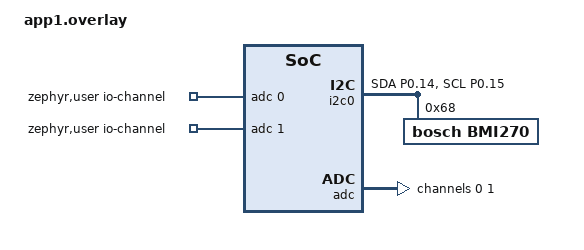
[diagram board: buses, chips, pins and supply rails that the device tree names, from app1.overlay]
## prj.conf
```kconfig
#
# Copyright (c) 2018 Nordic Semiconductor
#
# SPDX-License-Identifier: LicenseRef-Nordic-5-Clause
#

# Logger module
# Button and LED library
CONFIG_DK_LIBRARY=y

# Bluetooth LE
CONFIG_BT=y
CONFIG_BT_PERIPHERAL=y
CONFIG_BT_DEVICE_NAME="IMU_wearable"

# Increase stack size for the main thread and System Workqueue
CONFIG_SYSTEM_WORKQUEUE_STACK_SIZE=1024
CONFIG_MAIN_STACK_SIZE=1024

CONFIG_STDOUT_CONSOLE=y
CONFIG_I2C=y
CONFIG_SENSOR=y
CONFIG_ADC=y

# RAM savings (nRF52811 has 24 kB)
CONFIG_USE_SEGGER_RTT=n
CONFIG_BT_GATT_CACHING=n

# increaes BLE packet size
# CONFIG_BT_BUF_ACL_RX_SIZE=251
# CONFIG_BT_BUF_ACL_TX_SIZE=251
# CONFIG_BT_L2CAP_TX_MTU=247
# CONFIG_BT_L2CAP_TX_BUF_COUNT=10
# CONFIG_BT_CTLR_DATA_LENGTH_MAX=251

CONFIG_BT_BUF_ACL_RX_SIZE=64
CONFIG_BT_BUF_ACL_TX_SIZE=64
CONFIG_BT_L2CAP_TX_MTU=60
CONFIG_BT_L2CAP_TX_BUF_COUNT=3
CONFIG_BT_CTLR_DATA_LENGTH_MAX=64

CONFIG_BT_GATT_CLIENT=y

# increase number of connections
# CONFIG_BT_MAX_CONN=1
```

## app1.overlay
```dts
&i2c0 {
  compatible = "nordic,nrf-twi";
  status = "okay";
  pinctrl-0 = <&i2c1_default_custom>;
  pinctrl-1 = <&i2c1_sleep_custom>;
  pinctrl-names = "default", "sleep";

  bmi270@68 {
    compatible = "bosch,bmi270";
    reg = <0x68>;
  };
};

/ {
  zephyr,user {
    io-channels = <&adc 0>, <&adc 1>;
  };
};

/* foot pressure sensors */
&adc {
  #address-cells = <1>;
  #size-cells = <0>;
  status = "okay";

  channel@0 {                       /* AIN4 / P0.28 */
    reg = <0>;
    zephyr,gain = "ADC_GAIN_1_6";
    zephyr,reference = "ADC_REF_INTERNAL";
    zephyr,acquisition-time = <ADC_ACQ_TIME_DEFAULT>;
    zephyr,input-positive = <NRF_SAADC_AIN4>;
    zephyr,resolution = <12>;
  };
  channel@1 {                       /* AIN6 / P0.30 */
    reg = <1>;
    zephyr,gain = "ADC_GAIN_1_6";
    zephyr,reference = "ADC_REF_INTERNAL";
    zephyr,acquisition-time = <ADC_ACQ_TIME_DEFAULT>;
    zephyr,input-positive = <NRF_SAADC_AIN6>;
    zephyr,resolution = <12>;
  };
};

&pinctrl {
  i2c1_default_custom: i2c1_default_custom {
    group1 {
      psels = <NRF_PSEL(TWIM_SDA, 0, 14)>,
        <NRF_PSEL(TWIM_SCL, 0, 15)>;
    };
  };
  i2c1_sleep_custom: i2c1_sleep_custom {
    group1 {
      psels = <NRF_PSEL(TWIM_SDA, 0, 14)>,
        <NRF_PSEL(TWIM_SCL, 0, 15)>;
      low-power-enable;
    };
  };
};

// &pinctrl {
//   i2c1_default_custom: i2c1_default_custom {
//     group1 {
//       psels = <NRF_PSEL(TWIM_SDA, 0, 6)>,
//         <NRF_PSEL(TWIM_SCL, 0, 9)>;
//     };
//   };
//   i2c1_sleep_custom: i2c1_sleep_custom {
//     group1 {
//       psels = <NRF_PSEL(TWIM_SDA, 0, 6)>,
//         <NRF_PSEL(TWIM_SCL, 0, 9)>;
//       low-power-enable;
//     };
//   };
// };
```

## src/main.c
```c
#include <zephyr/kernel.h>
#include <zephyr/bluetooth/bluetooth.h>
#include <zephyr/bluetooth/gap.h>
#include <zephyr/bluetooth/uuid.h>
#include <zephyr/bluetooth/conn.h>
// #include <dk_buttons_and_leds.h>
#include <zephyr/drivers/gpio.h>
#include <zephyr/drivers/adc.h>

#include "main.h"
#include "imu_service.h"
#include "imu_driver.h"

#define LED0_NODE DT_ALIAS(led0)
static const struct gpio_dt_spec led = GPIO_DT_SPEC_GET(LED0_NODE, gpios);

void set_led(bool led_state)
{
  if (led_state == true) {
    gpio_pin_set_dt(&led, 1);
  } else {
    gpio_pin_set_dt(&led, 0);
  }
}

static uint32_t app_sensor_value = 100;

static bool app_button_state;

/* foot pressure sensors on AIN4 (P0.28) and AIN6 (P0.30), see app1.overlay */
static const struct adc_dt_spec foot_adc[2] = {
  ADC_DT_SPEC_GET_BY_IDX(DT_PATH(zephyr_user), 0),
  ADC_DT_SPEC_GET_BY_IDX(DT_PATH(zephyr_user), 1),
};

static int foot_adc_init(void)
{
  for (int i = 0; i < 2; i++) {
    if (!adc_is_ready_dt(&foot_adc[i]) || adc_channel_setup_dt(&foot_adc[i])) {
      return -1;
    }
  }
  return 0;
}

/* sample both channels in one sequence, results in millivolts */
static int read_foot_mv(uint16_t mv_out[2])
{
  int16_t buf[2];
  struct adc_sequence seq = {
    .buffer = buf,
    .buffer_size = sizeof(buf),
  };

  adc_sequence_init_dt(&foot_adc[0], &seq);
  seq.channels |= BIT(foot_adc[1].channel_id);

  if (adc_read(foot_adc[0].dev, &seq)) {
    return -1;
  }
  for (int i = 0; i < 2; i++) {
    int32_t mv = buf[i];
    adc_raw_to_millivolts_dt(&foot_adc[i], &mv);
    mv_out[i] = mv < 0 ? 0 : mv; /* single-ended can read slightly negative */
  }
  return 0;
}

/* one sample, passed collector -> sender through imu_q so it is always consistent */
struct imu_sample {
  struct sensor_value acc[3], gyr[3];
  uint16_t foot_mv[2];
};

#define IMU_QUEUE_DEPTH 16
K_MSGQ_DEFINE(imu_q, sizeof(struct imu_sample), IMU_QUEUE_DEPTH, 4);

static void on_connected(struct bt_conn *conn, uint8_t err) {
	if (err) {
		printk("Connection failed (err %u)\n", err);
		return;
	}

  max_mtu_on_conn(conn);

	printk("Connected\n");

	// dk_set_led_on(CON_STATUS_LED);
}

static void on_disconnected(struct bt_conn *conn, uint8_t reason) {
	printk("Disconnected (reason %u)\n", reason);

	// dk_set_led_off(CON_STATUS_LED);
}

struct bt_conn_cb connection_callbacks = {
	.connected = on_connected,
	.disconnected = on_disconnected,
};

void send_data_thread(void)
{
  struct imu_sample s;

	while (1) {
    k_msgq_get(&imu_q, &s, K_FOREVER);
		/* Send notification, the function sends notifications only if a client is subscribed */
		if(imu_send_notify(s.acc, s.gyr, s.foot_mv)) {
    }
	}
}

#define IMU_SAMPLE_PERIOD_MS 10

static K_SEM_DEFINE(imu_sample_sem, 0, 1);

static void imu_timer_expiry(struct k_timer *timer)
{
  k_sem_give(&imu_sample_sem);
}

static K_TIMER_DEFINE(imu_timer, imu_timer_expiry, NULL);

void collect_imu_data_thread(void)
{
  /* periodic timer reschedules from the previous expiry, so it doesn't drift */
  k_timer_start(&imu_timer, K_MSEC(IMU_SAMPLE_PERIOD_MS), K_MSEC(IMU_SAMPLE_PERIOD_MS));

  struct imu_sample s;

  while (1) {
    k_sem_take(&imu_sample_sem, K_FOREVER);
    if(get_imu_data(s.acc, s.gyr) == -1){
      // set_led(true);
      continue;
    }
    /* a failed ADC read reports 0 mV rather than dropping the IMU data */
    if (read_foot_mv(s.foot_mv)) {
      s.foot_mv[0] = s.foot_mv[1] = 0;
    }
    /* if the sender fell behind, drop the oldest sample to make room */
    while (k_msgq_put(&imu_q, &s, K_NO_WAIT) != 0) {
      struct imu_sample dropped;
      k_msgq_get(&imu_q, &dropped, K_NO_WAIT);
    }
  }
}

static void app_led_cb(bool led_state)
{
	// dk_set_led(USER_LED, led_state);
}

static bool app_button_cb(void)
{
	return app_button_state;
}

static struct my_lbs_cb app_callbacks = {
	.led_cb = app_led_cb,
	.button_cb = app_button_cb,
};


int main(void)
{
  int blink_status = 0;
	int err;
  //init LEDs
	int ret;
	bool led_state = true;

	if (!gpio_is_ready_dt(&led)) {
		return 0;
	}

	ret = gpio_pin_configure_dt(&led, GPIO_OUTPUT_ACTIVE);
	if (ret < 0) {
		return 0;
	}

  if (bmi_init()) {
  } else{
  }

  if (foot_adc_init()) {
    printk("Foot ADC init failed\n");
  }

	err = bt_enable(NULL);
	if (err) {
		return -1;
	}
	bt_conn_cb_register(&connection_callbacks);

  if (imu_service_init(&app_callbacks)) {
  }

  if (bt_le_adv_start(adv_param, ad, ARRAY_SIZE(ad), sd, ARRAY_SIZE(sd))) {
  }
  set_led(true);

  for (;;) {
    ret = gpio_pin_toggle_dt(&led);
    k_sleep(K_MSEC(RUN_LED_BLINK_INTERVAL));
	}

}
//define a thread
K_THREAD_DEFINE(send_data_thread_id, STACKSIZE, send_data_thread, NULL, NULL, NULL, PRIORITY, 0, 0);

K_THREAD_DEFINE(collect_imu_data_thread_id, STACKSIZE, collect_imu_data_thread, NULL, NULL, NULL, PRIORITY, 0, 0);
```

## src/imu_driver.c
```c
/*
 * Copyright (c) 2021 Bosch Sensortec GmbH
 *
 * SPDX-License-Identifier: Apache-2.0
 */

 #include <zephyr/kernel.h>
 #include <zephyr/device.h>
 #include <zephyr/drivers/sensor.h>
 #include <stdio.h>
 static const struct device *const dev = DEVICE_DT_GET_ONE(bosch_bmi270);


int get_imu_data(struct sensor_value *acc, struct sensor_value *gyr) {
    /* 10ms period, 100Hz Sampling frequency */
    // k_sleep(K_MSEC(10));

    if(sensor_sample_fetch(dev)) {
      //failed to fetch data
      return -1;

    } else {
    }

    if(sensor_channel_get(dev, SENSOR_CHAN_ACCEL_XYZ, acc)) {
      return -1;
    }
    
    if(sensor_channel_get(dev, SENSOR_CHAN_GYRO_XYZ, gyr)) {
      return -1;
    }

    return 0;
}

 int bmi_init(void)
 {

   struct sensor_value acc[3], gyr[3];
   struct sensor_value full_scale, sampling_freq, oversampling;
 
   if (!device_is_ready(dev)) {
     return 0;
   }
 
   printf("Device %p name is %s\n", dev, dev->name);
 
   /* Setting scale in G, due to loss of precision if the SI unit m/s^2
    * is used
    */
   full_scale.val1 = 2;            /* G */
   full_scale.val2 = 0;
   sampling_freq.val1 = 100;       /* Hz. Performance mode */
   sampling_freq.val2 = 0;
   oversampling.val1 = 1;          /* Normal mode */
   oversampling.val2 = 0;
 
   sensor_attr_set(dev, SENSOR_CHAN_ACCEL_XYZ, SENSOR_ATTR_FULL_SCALE,
       &full_scale);
   sensor_attr_set(dev, SENSOR_CHAN_ACCEL_XYZ, SENSOR_ATTR_OVERSAMPLING,
       &oversampling);
   /* Set sampling frequency last as this also sets the appropriate
    * power mode. If already sampling, change to 0.0Hz before changing
    * other attributes
    */
   sensor_attr_set(dev, SENSOR_CHAN_ACCEL_XYZ,
       SENSOR_ATTR_SAMPLING_FREQUENCY,
       &sampling_freq);
 
 
   /* Setting scale in degrees/s to match the sensor scale */
   full_scale.val1 = 500;          /* dps */
   full_scale.val2 = 0;
   sampling_freq.val1 = 100;       /* Hz. Performance mode */
   sampling_freq.val2 = 0;
   oversampling.val1 = 1;          /* Normal mode */
   oversampling.val2 = 0;
 
   sensor_attr_set(dev, SENSOR_CHAN_GYRO_XYZ, SENSOR_ATTR_FULL_SCALE,
       &full_scale);
   sensor_attr_set(dev, SENSOR_CHAN_GYRO_XYZ, SENSOR_ATTR_OVERSAMPLING,
       &oversampling);
   /* Set sampling frequency last as this also sets the appropriate
    * power mode. If already sampling, change sampling frequency to
    * 0.0Hz before changing other attributes
    */
   sensor_attr_set(dev, SENSOR_CHAN_GYRO_XYZ,
       SENSOR_ATTR_SAMPLING_FREQUENCY,
       &sampling_freq);

   return 0;
 }
```

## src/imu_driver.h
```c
#ifndef IMU_DRIVER_H
#define IMU_DRIVER_H
 #include <zephyr/drivers/sensor.h>
 
int get_imu_data(struct sensor_value *acc, struct sensor_value *gyr);

int bmi_init(void);

#endif
```

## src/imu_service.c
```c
#include <zephyr/types.h>
#include <stddef.h>
#include <string.h>
#include <errno.h>
#include <zephyr/sys/printk.h>
#include <zephyr/sys/byteorder.h>
#include <zephyr/kernel.h>
#include <zephyr/bluetooth/bluetooth.h>
#include <zephyr/bluetooth/hci.h>
#include <zephyr/bluetooth/conn.h>
#include <zephyr/bluetooth/uuid.h>
#include <zephyr/bluetooth/gatt.h>

#include "imu_service.h"

static struct bt_gatt_indicate_params ind_params;

static bool notify_mysensor_enabled;
static bool indicate_enabled;
static bool button_state;
static struct my_lbs_cb lbs_cb;

static void exchange_func(struct bt_conn *conn, uint8_t err,
  struct bt_gatt_exchange_params *params)
{
  if (!err) {
      /* According to 3.4.7.1 Handle Value Notification off the ATT protocol.
       * Maximum supported notification is ATT_MTU - 3 */
      uint32_t bt_max_send_len = bt_gatt_get_mtu(conn) - 3;
  }
}

// static struct bt_gatt_exchange_params {
//   struct bt_att_req *req;
//   void (*func)(struct bt_conn *conn, uint8_t err, struct bt_gatt_exchange_params *params);
// };

static struct bt_gatt_exchange_params exchange_params = {
  .func = exchange_func,
};
static int rc = 0;

void max_mtu_on_conn(struct bt_conn *current_conn) {
  /* maximize ATT MTU at peer side (CONFIG_BT_L2CAP_TX_MTU)*/
  exchange_params.func = exchange_func;
  rc = bt_gatt_exchange_mtu(current_conn, &exchange_params);
  if (rc) {
  }
}

static void mylbsbc_ccc_cfg_changed(const struct bt_gatt_attr *attr, uint16_t value)
{
	indicate_enabled = (value == BT_GATT_CCC_INDICATE);
}

/* STEP 13 - Define the configuration change callback function for the MYSENSOR characteristic */
static void mylbsbc_ccc_mysensor_cfg_changed(const struct bt_gatt_attr *attr, uint16_t value)
{
	notify_mysensor_enabled = (value == BT_GATT_CCC_NOTIFY);
}

static ssize_t write_led(struct bt_conn *conn, const struct bt_gatt_attr *attr, const void *buf,
  uint16_t len, uint16_t offset, uint8_t flags)
{

if (len != 1U) {
return BT_GATT_ERR(BT_ATT_ERR_INVALID_ATTRIBUTE_LEN);
}

if (offset != 0) {
return BT_GATT_ERR(BT_ATT_ERR_INVALID_OFFSET);
}

if (lbs_cb.led_cb) {
// Read the received value
uint8_t val = *((uint8_t *)buf);

if (val == 0x00 || val == 0x01) {
 // Call the application callback function to update the LED state
 lbs_cb.led_cb(val ? true : false);
} else {

 return BT_GATT_ERR(BT_ATT_ERR_VALUE_NOT_ALLOWED);
}
}

return len;
}

static ssize_t read_button(struct bt_conn *conn, const struct bt_gatt_attr *attr, void *buf,
    uint16_t len, uint16_t offset)
{
// get a pointer to button_state which is passed in the BT_GATT_CHARACTERISTIC() and stored in attr->user_data
const char *value = attr->user_data;


if (lbs_cb.button_cb) {
// Call the application callback function to update the get the current value of the button
button_state = lbs_cb.button_cb();
return bt_gatt_attr_read(conn, attr, buf, len, offset, value, sizeof(*value));
}

return 0;
}

BT_GATT_SERVICE_DEFINE(
	imu_svc, BT_GATT_PRIMARY_SERVICE(BT_UUID_IMU_SERVICE),

  //old code
  BT_GATT_CHARACTERISTIC(BT_UUID_LBS_BUTTON, BT_GATT_CHRC_READ | BT_GATT_CHRC_INDICATE,
    BT_GATT_PERM_READ, read_button, NULL, &button_state),
/* STEP 2 - Create and add the Client Characteristic Configuration Descriptor */
BT_GATT_CCC(mylbsbc_ccc_cfg_changed, BT_GATT_PERM_READ | BT_GATT_PERM_WRITE),

BT_GATT_CHARACTERISTIC(BT_UUID_LBS_LED, BT_GATT_CHRC_WRITE, BT_GATT_PERM_WRITE, NULL,
    write_led, NULL),


	/* STEP 12 - Create and add the MYSENSOR characteristic and its CCCD  */
	BT_GATT_CHARACTERISTIC(BT_UUID_IMU, BT_GATT_CHRC_NOTIFY, BT_GATT_PERM_NONE, NULL,
			       NULL, NULL),
	BT_GATT_CCC(mylbsbc_ccc_mysensor_cfg_changed, BT_GATT_PERM_READ | BT_GATT_PERM_WRITE),

);


int imu_service_init(struct my_lbs_cb *callbacks) {
  if (callbacks) {
		lbs_cb.led_cb = callbacks->led_cb;
		lbs_cb.button_cb = callbacks->button_cb;
	}
  return 0;

}

static uint32_t ascii_sensor_value = 0;
static char hello_world[] = "Hello, World!";

static struct wearable_packet packet;

//send imu data to the client
int imu_send_notify(struct sensor_value *acc, struct sensor_value *gyr, const uint16_t foot_mv[2])
{
	if (!notify_mysensor_enabled) {
		return -EACCES;
	}

  packet.data.acc[0].integer = acc[0].val1;
  packet.data.acc[0].fraction = acc[0].val2;
  packet.data.acc[1].integer = acc[1].val1;
  packet.data.acc[1].fraction = acc[1].val2;
  packet.data.acc[2].integer = acc[2].val1;
  packet.data.acc[2].fraction = acc[2].val2;
  packet.data.gyr[0].integer = gyr[0].val1;
  packet.data.gyr[0].fraction = gyr[0].val2;
  packet.data.gyr[1].integer = gyr[1].val1;
  packet.data.gyr[1].fraction = gyr[1].val2;
  packet.data.gyr[2].integer = gyr[2].val1;
  packet.data.gyr[2].fraction = gyr[2].val2;

  packet.foot_voltage_1 = foot_mv[0];
  packet.foot_voltage_2 = foot_mv[1];

  //[left arm, right arm, left leg, right leg, head, back]
  //[0,           1,        2,        3,         4,    5]
  packet.pos = 1;

  return bt_gatt_notify(NULL, &imu_svc.attrs[7], &packet, sizeof(packet));

  //x61 to x7a
  //loop sensor value from x61 to x7a
  
  // ascii_sensor_value = (ascii_sensor_value + 1) % 26;

	// return bt_gatt_notify(NULL, &imu_svc.attrs[7], &hello_world, sizeof(hello_world));
}
```

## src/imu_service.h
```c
#ifndef BT_IMU_H_
#define BT_IMU_H_

#include <zephyr/drivers/sensor.h>

#define BT_UUID_IMU_SERVICE_VAL BT_UUID_128_ENCODE(0x00001523, 0x1212, 0xefde, 0x1523, 0x785feabcd123)

#define BT_UUID_IMU_SERVICE BT_UUID_DECLARE_128(BT_UUID_IMU_SERVICE_VAL)

// IMU charactersitic UUID
#define BT_UUID_IMU_VAL                                                                   \
	BT_UUID_128_ENCODE(0x00001526, 0x1212, 0xefde, 0x1523, 0x785feabcd123)

#define BT_UUID_IMU BT_UUID_DECLARE_128(BT_UUID_IMU_VAL)

/*old code*/
#define BT_UUID_LBS_BUTTON_VAL                                                                     \
	BT_UUID_128_ENCODE(0x00001524, 0x1212, 0xefde, 0x1523, 0x785feabcd123)

/** @brief LED Characteristic UUID. */
#define BT_UUID_LBS_LED_VAL BT_UUID_128_ENCODE(0x00001525, 0x1212, 0xefde, 0x1523, 0x785feabcd123)
#define BT_UUID_LBS_BUTTON BT_UUID_DECLARE_128(BT_UUID_LBS_BUTTON_VAL)
#define BT_UUID_LBS_LED BT_UUID_DECLARE_128(BT_UUID_LBS_LED_VAL)


/** @brief Callback type for when an LED state change is received. */
typedef void (*led_cb_t)(const bool led_state);

/** @brief Callback type for when the button state is pulled. */
typedef bool (*button_cb_t)(void);

struct my_lbs_cb {
	/** LED state change callback. */
	led_cb_t led_cb;
	/** Button read callback. */
	button_cb_t button_cb;
};
/*end*/

// struct for per device data
struct imu_sensor_value {
  int32_t integer;
  int32_t fraction;
};

struct imu_data {
  struct imu_sensor_value acc[3];
  struct imu_sensor_value gyr[3];
};
struct wearable_packet {
  struct imu_data data;
  uint16_t foot_voltage_1;
  uint16_t foot_voltage_2;
  uint8_t pos;
};

int imu_send_notify(struct sensor_value *acc, struct sensor_value *gyr, const uint16_t foot_mv[2]);
int imu_service_init(struct my_lbs_cb *callbacks);
void max_mtu_on_conn(struct bt_conn *current_conn);
#endif
```

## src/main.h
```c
#include "imu_service.h"


#define DEVICE_NAME CONFIG_BT_DEVICE_NAME
#define DEVICE_NAME_LEN (sizeof(DEVICE_NAME) - 1)

#define RUN_STATUS_LED DK_LED1
#define CON_STATUS_LED DK_LED2
#define USER_LED DK_LED3
#define USER_BUTTON DK_BTN1_MSK

#define STACKSIZE 1024
#define PRIORITY 7

#define RUN_LED_BLINK_INTERVAL 1000
/* STEP 17 - Define the interval at which you want to send data at */
#define NOTIFY_INTERVAL 500

static const struct bt_le_adv_param *adv_param = BT_LE_ADV_PARAM(
	(BT_LE_ADV_OPT_CONNECTABLE |
	 BT_LE_ADV_OPT_USE_IDENTITY), /* Connectable advertising and use identity address */
	32, /* Min Advertising Interval 500ms (800*0.625ms) */
	80, /* Max Advertising Interval 500.625ms (801*0.625ms) */
	NULL); /* Set to NULL for undirected advertising */

static const struct bt_data ad[] = {
  BT_DATA_BYTES(BT_DATA_FLAGS, (BT_LE_AD_GENERAL | BT_LE_AD_NO_BREDR)),
  BT_DATA(BT_DATA_NAME_COMPLETE, DEVICE_NAME, DEVICE_NAME_LEN),

};

static const struct bt_data sd[] = {
	BT_DATA_BYTES(BT_DATA_UUID128_ALL, BT_UUID_IMU_SERVICE_VAL),
};

void set_led(bool led_state);
```
